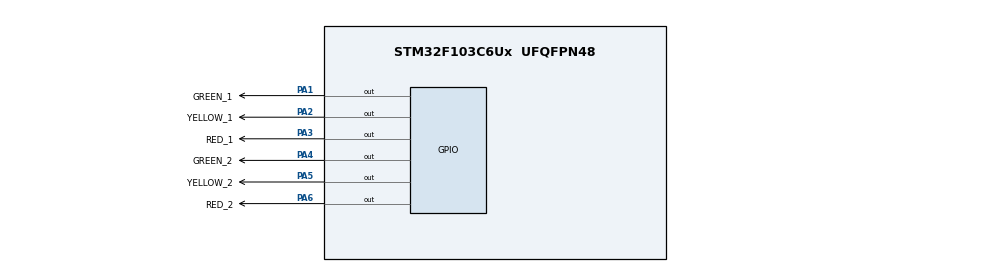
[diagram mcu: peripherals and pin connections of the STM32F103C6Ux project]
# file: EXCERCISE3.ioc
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Mcu.Family=STM32F1
Mcu.Name=STM32F103C6Ux
Mcu.Package=UFQFPN48
NVIC.PriorityGroup=NVIC_PRIORITYGROUP_4
PA1.GPIO_Label=GREEN_1
PA1.Signal=GPIO_Output
PA2.GPIO_Label=YELLOW_1
PA2.Signal=GPIO_Output
PA3.GPIO_Label=RED_1
PA3.Signal=GPIO_Output
PA4.GPIO_Label=GREEN_2
PA4.Signal=GPIO_Output
PA5.GPIO_Label=YELLOW_2
PA5.Signal=GPIO_Output
PA6.GPIO_Label=RED_2
PA6.Signal=GPIO_Output
ProjectManager.HeapSize=0x200
ProjectManager.StackSize=0x400
ProjectManager.TargetToolchain=STM32CubeIDE
RCC.APB1Freq_Value=8000000
RCC.APB2Freq_Value=8000000
VP_SYS_VS_ND.Mode=No_Debug
board=custom

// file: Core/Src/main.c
/* USER CODE BEGIN Header */
/**
  ******************************************************************************
  * @file           : main.c
  * @brief          : Main program body
  ******************************************************************************
  * @attention
  *
  * <h2><center>&copy; Copyright (c) 2023 STMicroelectronics.
  * All rights reserved.</center></h2>
  *
  * This software component is licensed by ST under BSD 3-Clause license,
  * the "License"; You may not use this file except in compliance with the
  * License. You may obtain a copy of the License at:
  *                        opensource.org/licenses/BSD-3-Clause
  *
  ******************************************************************************
  */
/* USER CODE END Header */
#include "main.h"

void SystemClock_Config(void);
static void MX_GPIO_Init(void);

int main(void)
{

  /* MCU Configuration--------------------------------------------------------*/

  /* Reset of all peripherals, Initializes the Flash interface and the Systick. */
  HAL_Init();

  /* Configure the system clock */
  SystemClock_Config();

  /* Initialize all configured peripherals */
  MX_GPIO_Init();

  /* Infinite loop */
  /* USER CODE BEGIN WHILE */
  int countYELLOW = 2, countGREEN = 3, LED_status = 1;
  while (1)
  {
	  if (LED_status == 1){
		  HAL_GPIO_WritePin(GPIOA, GREEN_1_Pin, SET);
		  HAL_GPIO_WritePin(GPIOA, YELLOW_1_Pin, RESET);
		  HAL_GPIO_WritePin(GPIOA, RED_1_Pin, RESET);
		  HAL_GPIO_WritePin(GPIOA, GREEN_2_Pin, RESET);
		  HAL_GPIO_WritePin(GPIOA, YELLOW_2_Pin, RESET);
		  HAL_GPIO_WritePin(GPIOA, RED_2_Pin, SET);
		  countGREEN --;
		  if (countGREEN <0){
			  countGREEN = 3;
			  LED_status = 2;
		  }
	  }
	  if (LED_status == 2){
	  		  HAL_GPIO_WritePin(GPIOA, GREEN_1_Pin, RESET);
	  		  HAL_GPIO_WritePin(GPIOA, YELLOW_1_Pin, SET);
	  		  HAL_GPIO_WritePin(GPIOA, RED_1_Pin, RESET);
	  		  HAL_GPIO_WritePin(GPIOA, GREEN_2_Pin, RESET);
	  		  HAL_GPIO_WritePin(GPIOA, YELLOW_2_Pin, RESET);
	  		  HAL_GPIO_WritePin(GPIOA, RED_2_Pin, SET);
	  		  countYELLOW --;
	  		  if (countYELLOW <0){
	  			  countYELLOW = 2;
	  			  LED_status = 3;
	  		  }
	  	  }
	  if (LED_status == 3){
	  	  		  HAL_GPIO_WritePin(GPIOA, GREEN_1_Pin, RESET);
	  	  		  HAL_GPIO_WritePin(GPIOA, YELLOW_1_Pin, RESET);
	  	  		  HAL_GPIO_WritePin(GPIOA, RED_1_Pin, SET);
	  	  		  HAL_GPIO_WritePin(GPIOA, GREEN_2_Pin, SET);
	  	  		  HAL_GPIO_WritePin(GPIOA, YELLOW_2_Pin, RESET);
	  	  		  HAL_GPIO_WritePin(GPIOA, RED_2_Pin, RESET);
	  	  		  countGREEN --;
	  	  		  if (countGREEN <0){
	  	  			  countGREEN = 3;
	  	  			  LED_status = 4;
	  	  		  }
	  	  	  }
	  if (LED_status == 4){
	  	  		  HAL_GPIO_WritePin(GPIOA, GREEN_1_Pin, RESET);
	  	  		  HAL_GPIO_WritePin(GPIOA, YELLOW_1_Pin, RESET);
	  	  		  HAL_GPIO_WritePin(GPIOA, RED_1_Pin, SET);
	  	  		  HAL_GPIO_WritePin(GPIOA, GREEN_2_Pin, RESET);
	  	  		  HAL_GPIO_WritePin(GPIOA, YELLOW_2_Pin, SET);
	  	  		  HAL_GPIO_WritePin(GPIOA, RED_2_Pin, RESET);
	  	  		  countYELLOW --;
	  	  		  if (countYELLOW <=0){
	  	  			  countYELLOW = 2;
	  	  			  LED_status = 1;
	  	  		  }
	  	  	  }
	  HAL_Delay(1000);
    /* USER CODE END WHILE */

  }
}

void SystemClock_Config(void)
{
  RCC_OscInitTypeDef RCC_OscInitStruct = {0};
  RCC_ClkInitTypeDef RCC_ClkInitStruct = {0};

  /** Initializes the RCC Oscillators according to the specified parameters
  * in the RCC_OscInitTypeDef structure.
  */
  RCC_OscInitStruct.OscillatorType = RCC_OSCILLATORTYPE_HSI;
  RCC_OscInitStruct.HSIState = RCC_HSI_ON;
  RCC_OscInitStruct.HSICalibrationValue = RCC_HSICALIBRATION_DEFAULT;
  RCC_OscInitStruct.PLL.PLLState = RCC_PLL_NONE;
  if (HAL_RCC_OscConfig(&RCC_OscInitStruct) != HAL_OK)
  {
    Error_Handler();
  }
  /** Initializes the CPU, AHB and APB buses clocks
  */
  RCC_ClkInitStruct.ClockType = RCC_CLOCKTYPE_HCLK|RCC_CLOCKTYPE_SYSCLK
                              |RCC_CLOCKTYPE_PCLK1|RCC_CLOCKTYPE_PCLK2;
  RCC_ClkInitStruct.SYSCLKSource = RCC_SYSCLKSOURCE_HSI;
  RCC_ClkInitStruct.AHBCLKDivider = RCC_SYSCLK_DIV1;
  RCC_ClkInitStruct.APB1CLKDivider = RCC_HCLK_DIV1;
  RCC_ClkInitStruct.APB2CLKDivider = RCC_HCLK_DIV1;

  if (HAL_RCC_ClockConfig(&RCC_ClkInitStruct, FLASH_LATENCY_0) != HAL_OK)
  {
    Error_Handler();
  }
}

static void MX_GPIO_Init(void)
{
  GPIO_InitTypeDef GPIO_InitStruct = {0};

  /* GPIO Ports Clock Enable */
  __HAL_RCC_GPIOA_CLK_ENABLE();

  /*Configure GPIO pin Output Level */
  HAL_GPIO_WritePin(GPIOA, GREEN_1_Pin|YELLOW_1_Pin|RED_1_Pin|GREEN_2_Pin
                          |YELLOW_2_Pin|RED_2_Pin, GPIO_PIN_RESET);

  /*Configure GPIO pins : GREEN_1_Pin YELLOW_1_Pin RED_1_Pin GREEN_2_Pin
                           YELLOW_2_Pin RED_2_Pin */
  GPIO_InitStruct.Pin = GREEN_1_Pin|YELLOW_1_Pin|RED_1_Pin|GREEN_2_Pin
                          |YELLOW_2_Pin|RED_2_Pin;
  GPIO_InitStruct.Mode = GPIO_MODE_OUTPUT_PP;
  GPIO_InitStruct.Pull = GPIO_NOPULL;
  GPIO_InitStruct.Speed = GPIO_SPEED_FREQ_LOW;
  HAL_GPIO_Init(GPIOA, &GPIO_InitStruct);

}

void Error_Handler(void)
{
  __disable_irq();
  while (1)
  {
  }
}

/************************ (C) COPYRIGHT STMicroelectronics *****END OF FILE****/
